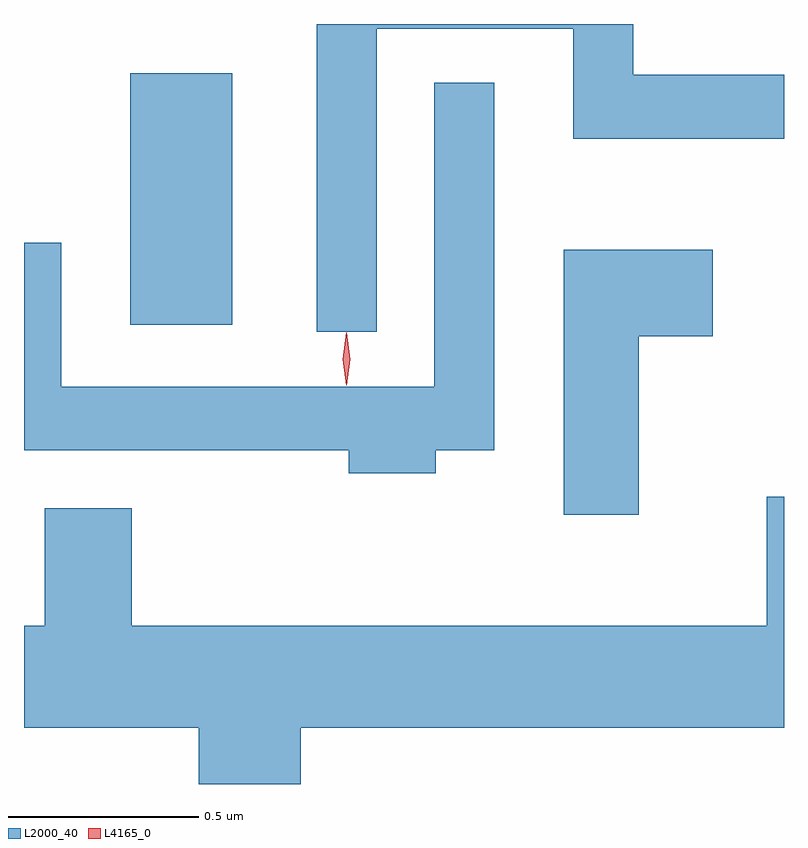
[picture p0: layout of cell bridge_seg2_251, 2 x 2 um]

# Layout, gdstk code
import gdstk
lib = gdstk.Library(unit=1e-6, precision=1e-09)
def R(c, l, rs):  # rectangles x0, y0, x1, y1
    for r in rs: c.add(gdstk.rectangle(r[:2], r[2:], *l))
def P(c, l, *ps):  # polygons
    for p in ps: c.add(gdstk.Polygon(p, *l))
L2000_40 = (2000, 40)
L4165_0 = (4165, 0)

bridge_seg2_251 = lib.new_cell('bridge_seg2_251')
R(bridge_seg2_251, L2000_40, [(554.556,1056.036,554.824,1056.699)])
P(bridge_seg2_251, L2000_40, [(555.204,1056.816),(555.721,1056.816),(555.721,1056.526),(556.276,1056.526),(556.276,1056.694),(555.879,1056.694),(555.879,1056.828),(555.046,1056.828),(555.046,1056.018),(555.204,1056.018)],
  [(555.359,1055.706),(555.514,1055.706),(555.514,1056.673),(555.356,1056.673),(555.356,1055.874),(554.374,1055.874),(554.374,1056.253),(554.276,1056.253),(554.276,1055.706),(555.131,1055.706),(555.131,1055.646),(555.359,1055.646)],
  [(555.894,1056.006),(556.089,1056.006),(556.089,1056.234),(555.696,1056.234),(555.696,1055.536),(555.894,1055.536)],
  [(555.004,1054.976),(556.276,1054.976),(556.276,1055.584),(556.231,1055.584),(556.231,1055.244),(554.559,1055.244),(554.559,1055.554),(554.331,1055.554),(554.331,1055.244),(554.276,1055.244),(554.276,1054.976),(554.736,1054.976),(554.736,1054.828),(555.004,1054.828)])
P(bridge_seg2_251, L4165_0, [(555.125,1055.879),(555.124,1055.88),(555.115,1055.946),(555.124,1056.012),(555.125,1056.013),(555.125,1056.012),(555.135,1055.946),(555.125,1055.88)],
  [(555.125,1055.877),(555.124,1055.878),(555.115,1055.946),(555.124,1056.016),(555.125,1056.016),(555.125,1056.016),(555.135,1055.946),(555.125,1055.878)])

lib.write_gds('bridge_seg2_251.gds')
